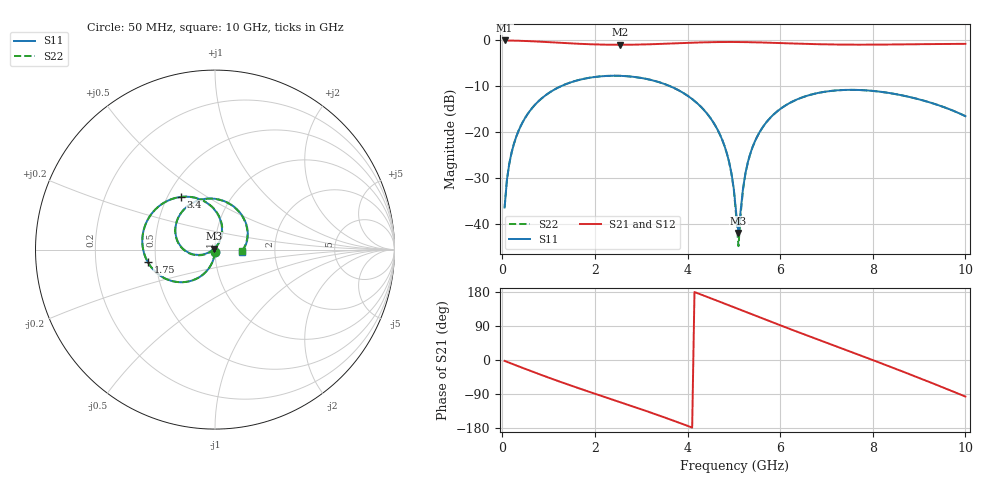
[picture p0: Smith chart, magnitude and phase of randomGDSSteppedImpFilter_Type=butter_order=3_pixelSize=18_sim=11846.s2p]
! freq	dB(S11)	phase(S11)	dB(S12)	phase(S12)
!  dB(S21)	phase(S21)	dB(S22)	phase(S22)
!S-par simulation data
#  GHz  S  DB  R 50
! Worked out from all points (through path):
!   200 points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, 50 MHz to 10 GHz, reference 50 ohm
!   highest |S21| = -0.01 dB at 50 MHz (marker M1); lowest = -0.9 dB at 2.55 GHz (marker M2)
!   group delay of S21, straight-line fit = 126 ps
!   lowest |S11| = -42.0 dB at 5.1 GHz (marker M3), VSWR 1.02, Z = 49.4 + j0.521 ohm
!   |S11| at or under -10 dB: start of sweep to 1.264 GHz; 3.627 GHz to end of sweep
!   |S22| runs from -44.9 to -7.7 dB; largest |S21 - S12| = 0
!   S11 on the Smith chart (normalised r, x): 50 MHz: 1.00, -0.03; 1.75 GHz: 0.45, -0.07; 3.4 GHz: 0.59, +0.39; 10 GHz: 1.35, -0.03
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0.05  -36.43 -92.3  -0.01 -2.4  -0.01 -2.4  -36.43 -92.3
0.1  -30.41 -95.0  -0.01 -4.8  -0.01 -4.8  -30.41 -95.0
0.2  -24.48 -100.0  -0.03 -9.6  -0.03 -9.6  -24.48 -100.0
0.5  -16.78 -114.1  -0.12 -23.7  -0.12 -23.7  -16.78 -114.1
1.1  -10.86 -141.4  -0.43 -50.9  -0.43 -50.9  -10.86 -141.5
1.75  -8.39 -169.3  -0.78 -78.7  -0.78 -78.7  -8.39 -169.3
2.55  -7.72 158.0  -0.95 -111.5  -0.95 -111.5  -7.72 157.9
3.4  -9.15 122.7  -0.76 -147.1  -0.76 -147.1  -9.15 122.5
4.05  -12.40 94.5  -0.51 -176.0  -0.51 -176.0  -12.40 94.1
4.6  -18.58 70.7  -0.36 158.2  -0.36 158.2  -18.59 69.7
4.9  -26.58 62.2  -0.34 143.9  -0.34 143.9  -26.64 59.4
5.05  -37.49 80.9  -0.34 136.7  -0.34 136.7  -38.29 71.6
5.1  -41.97 138.6  -0.35 134.3  -0.35 134.3  -44.87 141.1
5.15  -36.81 -172.3  -0.35 131.9  -0.35 131.9  -37.55 -163.4
5.25  -28.97 -156.4  -0.37 127.1  -0.37 127.1  -29.09 -152.4
5.5  -21.05 -160.8  -0.42 115.2  -0.42 115.2  -21.07 -159.1
6  -14.96 178.3  -0.57 91.6  -0.57 91.6  -14.97 179.2
6.7  -11.73 146.8  -0.79 59.3  -0.79 59.3  -11.74 147.6
7.55  -10.77 108.4  -0.92 20.5  -0.92 20.5  -10.78 109.0
8.35  -11.46 71.5  -0.89 -16.5  -0.89 -16.5  -11.46 72.3
9.25  -13.57 29.7  -0.80 -59.4  -0.80 -59.4  -13.58 30.8
10  -16.52 -4.1  -0.74 -96.4  -0.74 -96.4  -16.51 -2.5
